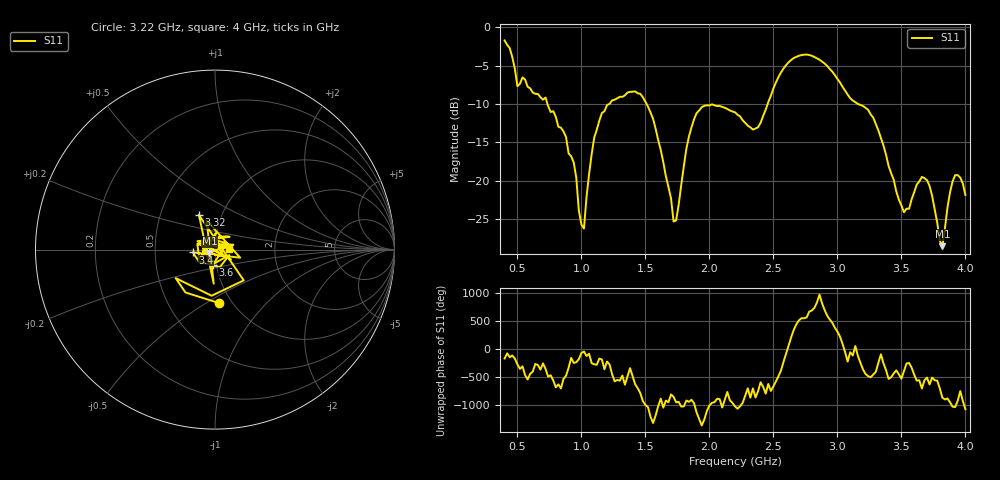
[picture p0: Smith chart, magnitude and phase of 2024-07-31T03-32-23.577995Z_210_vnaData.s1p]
!Created with skrf (http://scikit-rf.org).
# Hz S RI R 50.0
!freq ReS11 ImS11
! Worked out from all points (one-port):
!   181 points, 400 MHz to 4 GHz, reference 50 ohm
!   lowest |S11| = -28.6 dB at 3.82 GHz (marker M1), VSWR 1.08, Z = 46.9 - j1.86 ohm
!   |S11| at or under -10 dB: 735.1 MHz to 1.217 GHz (481.9 MHz wide, 49.4 % of centre); 1.51 GHz to 2.455 GHz (945.4 MHz wide, 47.7 % of centre); 3.164 GHz to end of sweep
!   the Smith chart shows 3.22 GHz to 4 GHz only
!   S11 on the Smith chart (normalised r, x): 3.22 GHz: 0.87, -0.57; 3.32 GHz: 0.78, +0.32; 3.4 GHz: 0.78, -0.02; 3.6 GHz: 0.96, -0.16; 4 GHz: 1.17, +0.01
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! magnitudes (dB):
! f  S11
! 400 MHz  -1.7
! 500 MHz  -7.7
! 720 MHz  -9.1
! 860 MHz  -13.6
! 940 MHz  -17.6
! 1.02 GHz  -26.3
! 1.1 GHz  -14.4
! 1.3 GHz  -9.1
! 1.5 GHz  -9.7
! 1.62 GHz  -16.0
! 1.72 GHz  -25.3
! 1.76 GHz  -23.1
! 1.82 GHz  -15.8
! 1.9 GHz  -11.2
! 2.2 GHz  -11.1
! 2.38 GHz  -13.0
! 2.66 GHz  -4.0
! 2.86 GHz  -4.2
! 3.1 GHz  -9.2
! 3.22 GHz  -10.5
! 3.32 GHz  -13.4
! 3.4 GHz  -18.1
! 3.56 GHz  -23.7
! 3.6 GHz  -21.5
! 3.7 GHz  -19.9
! 3.82 GHz  -28.6
! 3.92 GHz  -19.3
! 4 GHz  -21.9
